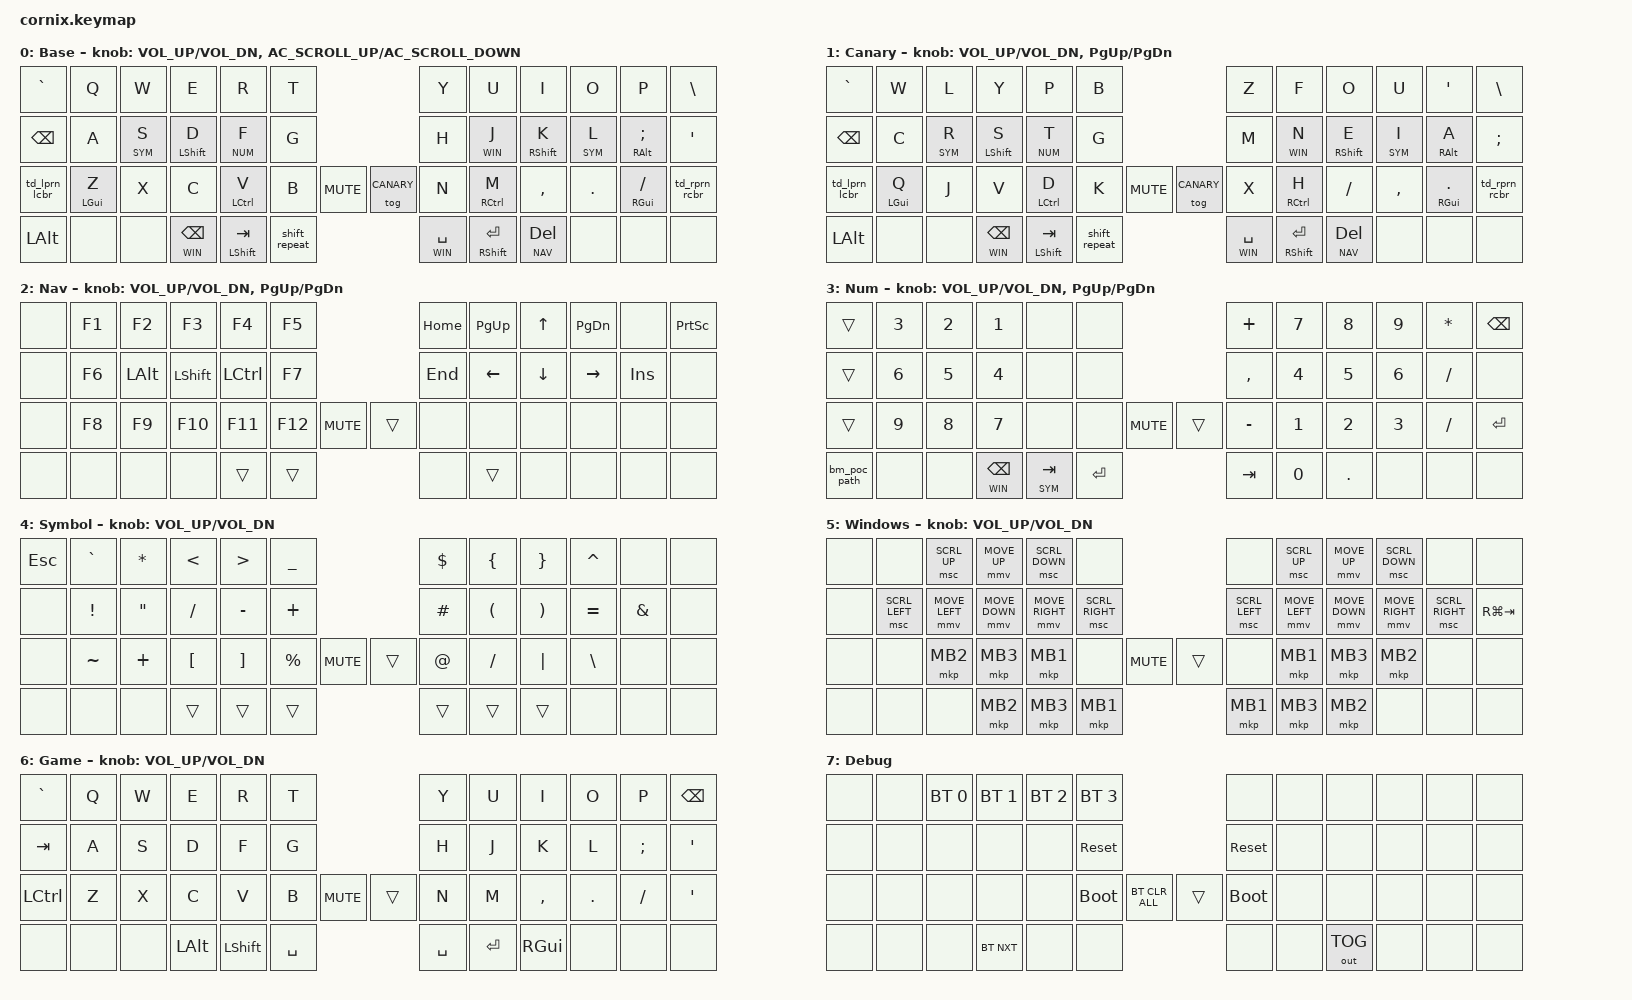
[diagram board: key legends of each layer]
/*
 * Copyright (c) 2020 The ZMK Contributors
 *
 * SPDX-License-Identifier: MIT
 */

#include "zmk-helpers/helper.h"
#include "includes/cornix54.h"

// tap windows for ctl alt and gui

#define HM_TAPPING_TERM 250
#define HM_TAPPING_REPEAT 210

// quick tapping for shift

#define HM_TAPPING_TERM_FAST 180
#define HM_PRIOR_IDLE 40
#define BASE 0
#define CANARY 1
#define NAV 2
#define NUM 3
#define SYM 4
#define WIN 5
#define GAME 6
#define DEBUG 7

// https://github.com/urob/zmk-config/tree/main#timeless-homerow-mods

#define KEYS_L LT0 LT1 LT2 LT3 LT4 LT5 LM0 LM1 LM2 LM3 LM4 LM5 LB0 LB1 LB2 LB3 LB4 LB5  // left hand
#define KEYS_R RT0 RT1 RT2 RT3 RT4 RT5 RM0 RM1 RM2 RM3 RM4 RM5 RB0 RB1 RB2 RB3 RB4 RB5  // right hand
#define THUMBS LH1 LH0 RH0 RH1
#define KEYS_T LH1 LH0 RH0 RH1
#define ZMK_POINTING_DEFAULT_SCRL_VAL 15

#include <behaviors.dtsi>
#include <dt-bindings/zmk/bt.h>
#include <dt-bindings/zmk/keys.h>
#include <dt-bindings/zmk/outputs.h>
#include <dt-bindings/zmk/pointing.h>

/ {

    behaviors {

        // Home Row Mods

        hm_lctrl: homerow_mods_left {
            compatible = "zmk,behavior-hold-tap";
            #binding-cells = <2>;
            bindings = <&kp>, <&kp>;

            flavor = "balanced";
            tapping-term-ms = <HM_TAPPING_TERM>;
            quick-tap-ms = <200>;                // repeat on tap-into-hold
            require-prior-idle-ms = <HM_PRIOR_IDLE>;
            hold-trigger-key-positions = <KEYS_R KEYS_T>;
            hold-trigger-on-release;
            hold-while-undecided;
        };

        hm_l: homerow_mods_gui_left {
            compatible = "zmk,behavior-hold-tap";
            #binding-cells = <2>;
            bindings = <&kp>, <&kp>;

            flavor = "balanced";
            tapping-term-ms = <HM_TAPPING_TERM>;
            quick-tap-ms = <200>;                // repeat on tap-into-hold
            require-prior-idle-ms = <HM_PRIOR_IDLE>;
            hold-trigger-key-positions = <KEYS_R KEYS_T>;
            hold-trigger-on-release;
        };

        hm_rctrl: homerow_mods_right {
            compatible = "zmk,behavior-hold-tap";
            #binding-cells = <2>;
            bindings = <&kp>, <&kp>;

            flavor = "balanced";
            tapping-term-ms = <HM_TAPPING_TERM>;
            quick-tap-ms = <200>;
            require-prior-idle-ms = <HM_PRIOR_IDLE>;
            hold-trigger-key-positions = <KEYS_L KEYS_T>;
            hold-trigger-on-release;
            hold-while-undecided;
        };

        hm_r: homerow_mods_gui_right {
            compatible = "zmk,behavior-hold-tap";
            #binding-cells = <2>;
            bindings = <&kp>, <&kp>;

            flavor = "balanced";
            tapping-term-ms = <HM_TAPPING_TERM>;
            quick-tap-ms = <200>;
            require-prior-idle-ms = <HM_PRIOR_IDLE>;
            hold-trigger-key-positions = <KEYS_L KEYS_T>;
            hold-trigger-on-release;
        };

        // Positional Homerow mods for shift
        // Use faster tapping term and disable some features that may
        // cause false negatives.

        hm_shift_l: hm_shift_l {
            compatible = "zmk,behavior-hold-tap";
            #binding-cells = <2>;
            bindings = <&kp>, <&kp>;

            flavor = "balanced";
            tapping-term-ms = <HM_TAPPING_TERM_FAST>;
            quick-tap-ms = <200>;
            require-prior-idle-ms = <HM_PRIOR_IDLE>;
            hold-trigger-key-positions = <KEYS_R KEYS_T>;
            hold-trigger-on-release;
            hold-while-undecided;
        };

        hm_shift_r: hm_shift_r {
            compatible = "zmk,behavior-hold-tap";
            #binding-cells = <2>;
            bindings = <&kp>, <&kp>;

            flavor = "balanced";
            tapping-term-ms = <HM_TAPPING_TERM_FAST>;
            quick-tap-ms = <200>;
            require-prior-idle-ms = <HM_PRIOR_IDLE>;
            hold-trigger-key-positions = <KEYS_L KEYS_T>;

            // for quick tapping; shift+~

            hold-trigger-on-release;
            hold-while-undecided;
        };

        lt: layer_tap {
            compatible = "zmk,behavior-hold-tap";
            #binding-cells = <2>;
            bindings = <&mo>, <&kp>;

            flavor = "balanced";
            tapping-term-ms = <HM_TAPPING_TERM_FAST>;
            quick-tap-ms = <200>;
            require-prior-idle-ms = <HM_PRIOR_IDLE>;
        };

        lt_nav: layer_tap_nav {
            compatible = "zmk,behavior-hold-tap";
            #binding-cells = <2>;
            bindings = <&mo>, <&kp>;

            flavor = "hold-preferred";
            tapping-term-ms = <HM_TAPPING_TERM_FAST>;
            quick-tap-ms = <200>;
            require-prior-idle-ms = <HM_PRIOR_IDLE>;
        };

        // Tap Dances

        td_lprn_lcbr: tap_dance_left_prn_cbr {
            compatible = "zmk,behavior-tap-dance";
            #binding-cells = <0>;
            tapping-term-ms = <200>;
            bindings = <&kp LPAR>, <&kp LBRC>;
        };

        td_rprn_rcbr: tap_dance_right_prn_cbr {
            compatible = "zmk,behavior-tap-dance";
            #binding-cells = <0>;
            tapping-term-ms = <200>;
            bindings = <&kp RPAR>, <&kp RBRC>;
        };

        td_comm_scln: tap_dance_comm_scln {
            compatible = "zmk,behavior-tap-dance";
            #binding-cells = <0>;
            tapping-term-ms = <200>;
            bindings = <&kp COMMA>, <&kp SEMICOLON>;
        };

        td_slsh_scln: tap_dance_slsh_scln {
            compatible = "zmk,behavior-tap-dance";
            #binding-cells = <0>;
            tapping-term-ms = <200>;
            bindings = <&kp SLASH>, <&kp SEMICOLON>;
        };

        td_scln_sqt: td_scln_sqt {
            compatible = "zmk,behavior-tap-dance";
            #binding-cells = <0>;
            tapping-term-ms = <200>;
            bindings = <&kp SEMICOLON>, <&kp SQT>;

            label = "TD_SCLN_SQT";
        };

        smart_shift: smart_shift {
            compatible = "zmk,behavior-mod-morph";
            #binding-cells = <0>;
            bindings = <&sk LSHFT>, <&caps_word>;
            mods = <(MOD_LSFT)>;
        };

        // Adaptive Keys

        shift_repeat: shift_repeat {
            compatible = "zmk,behavior-adaptive-key";
            #binding-cells = <0>;
            bindings = <&sk LSHFT>;

            repeat {
                trigger-keys = <A B C D E F G H I J K L M N O Q R S T V W X Y Z>;
                bindings = <&key_repeat>;
                max-prior-idle-ms = <400>;
                strict-modifiers;
            };

            arrow {
                trigger-keys = <MINUS EQUAL>;
                bindings = <&kp GT>;
                max-prior-idle-ms = <400>;
            };

            u_i {
                trigger-keys = <U>;
                bindings = <&kp I>;
                max-prior-idle-ms = <400>;
            };

            p_t {
                trigger-keys = <P>;
                bindings = <&kp T>;
                max-prior-idle-ms = <400>;
            };
        };
    };

    // Do something when layers are entered and left

    // layer_listeners {
    //     compatible = "zmk,layer-listeners";

    //     nav_listener {
    //         layers = <NAV>;
    //         bindings = <&kp N &kp B>;
    //     };
    // };

    combos {
        compatible = "zmk,combos";

        combo_caps_lock {
            key-positions = <29 32>;
            bindings = <&kp CAPSLOCK>;
            layers = <BASE CANARY>;
        };

        combo_caps_word {
            key-positions = <42 45>;
            bindings = <&caps_word>;
            layers = <BASE CANARY GAME>;
        };

        combo_esc {
            key-positions = <0 1>;
            bindings = <&kp ESC>;
            layers = <BASE CANARY GAME>;
        };

        combo_copy {
            key-positions = <26 27>;
            bindings = <&kp LC(C)>;
            layers = <BASE CANARY>;
        };

        combo_cut {
            key-positions = <26 28>;
            bindings = <&kp LC(X)>;
            layers = <BASE CANARY>;
        };

        combo_paste {
            key-positions = <27 28>;
            bindings = <&kp LC(V)>;
            layers = <BASE CANARY>;
        };

        combo_game {
            key-positions = <0 11>;
            bindings = <&tog GAME>;
            layers = <BASE CANARY GAME>;
        };

        combo_num {
            key-positions = <33 34 35>;
            bindings = <&tog NUM>;
            layers = <BASE CANARY NUM>;
        };

        combo_debug {
            bindings = <&mo DEBUG>;
            key-positions = <40 39>;
            layers = <BASE CANARY>;
        };

        combo_debug_r {
            bindings = <&mo DEBUG>;
            key-positions = <48 47>;
            layers = <BASE CANARY>;
        };

        combo_bspc {
            bindings = <&kp BSPC>;
            key-positions = <10 11>;
            layers = <BASE CANARY>;
        };

    };

    macros {

        bm_poc_path: bm_poc_path {
            compatible = "zmk,behavior-macro";
            #binding-cells = <0>;
            bindings = <&kp FSLH &kp H &kp O &kp M &kp E &kp N2 &kp FSLH &kp F &kp T &kp P &kp FSLH &kp W &kp E &kp E &kp K &kp L &kp Y &kp FSLH &kp W &kp T &kp I &kp L &kp L &kp E &kp T &kp T &kp FSLH>;
            label = "BM_POC_PATH";
        };
    };

    keymap {
        compatible = "zmk,keymap";

        default_layer {
            display-name = "Base";

            // ------------------------------------------------------------------------------------------------------------
            // |   `   |  1  |  2  |  3   |  4   |  5   |                   |  6   |  7    |  8    |  9   |   0   |       |
            // |  ESC  |  Q  |  W  |  E   |  R   |  T   |                   |  Y   |  U    |  I    |  O   |   P   | BKSPC |
            // |  TAB  |  A  |  S  |  D   |  F   |  G   |                   |  H   |  J    |  K    |  L   |   ;   |   '   |
            // | SHIFT |  Z  |  X  |  C   |  V   |  B   |  MUTE  |  |       |  N   |  M    |  ,    |  .   |   /   | SHIFT |
            //               | GUI | ALT  | CTRL | LOWER|  ENTER |  | SPACE | RAISE| CTRL  | ALT   | GUI  |

            bindings = <
&kp GRAVE      &kp Q         &kp W    &kp E                     &kp R              &kp T                               &kp Y        &kp U              &kp I                      &kp O    &kp P                 &kp BSLH
&kp BACKSPACE  &kp A         &lt SYM S  &hm_shift_l LSHFT D  &lt NUM F            &kp G                               &kp H        &lt WIN J            &hm_shift_r RSHFT K  &lt SYM L  &hm_r RALT SEMI  &kp SQT
&td_lprn_lcbr  &hm_l LGUI Z  &kp X    &kp C                     &hm_lctrl LCTRL V  &kp B           &kp C_MUTE  &tog CANARY  &kp N        &hm_rctrl RCTRL M  &kp COMMA                  &kp DOT  &hm_r RGUI SLASH      &td_rprn_rcbr
&kp LALT       &none         &none    &lt_nav WIN BSPC            &hm_shift_l LSHFT TAB          &shift_repeat                      &lt WIN SPACE  &hm_shift_r RSHFT ENTER        &lt_nav NAV DELETE           &none    &none                 &none
            >;

            sensor-bindings =
                <&inc_dec_kp C_VOL_UP C_VOL_DN>,
                <&inc_dec_kp C_AC_SCROLL_UP C_AC_SCROLL_DOWN>;
        };

        canary_layer {
            display-name = "Canary";

            // ------------------------------------------------------------------------------------------------------------
            // |   `   |  1  |  2  |  3   |  4   |  5   |                   |  6   |  7    |  8    |  9   |   0   |       |
            // |  ESC  |  Q  |  W  |  E   |  R   |  T   |                   |  Y   |  U    |  I    |  O   |   P   | BKSPC |
            // |  TAB  |  A  |  S  |  D   |  F   |  G   |                   |  H   |  J    |  K    |  L   |   ;   |   '   |
            // | SHIFT |  Z  |  X  |  C   |  V   |  B   |  MUTE  |  |       |  N   |  M    |  ,    |  .   |   /   | SHIFT |
            //               | GUI | ALT  | CTRL | LOWER|  ENTER |  | SPACE | RAISE| CTRL  | ALT   | GUI  |

            bindings = <
&kp GRAVE      &kp W         &kp L    &kp Y                     &kp P              &kp B                   &kp Z   &kp F              &kp O                      &kp U      &kp SQT            &kp BACKSLASH
&kp BACKSPACE  &kp C         &lt SYM R  &hm_shift_l LSHFT S  &lt NUM T            &kp G                   &kp M   &lt WIN N            &hm_shift_r RSHFT E  &lt SYM I    &hm_r RALT A  &kp SEMICOLON
&td_lprn_lcbr  &hm_l LGUI Q  &kp J    &kp V                     &hm_lctrl LCTRL D  &kp K   &kp C_MUTE  &tog CANARY  &kp X   &hm_rctrl RCTRL H  &kp SLASH                  &kp COMMA  &hm_r RGUI DOT     &td_rprn_rcbr
&kp LALT       &none         &none    &lt_nav WIN BSPC            &hm_shift_l LSHFT TAB          &shift_repeat                      &lt WIN SPACE  &hm_shift_r RSHFT ENTER        &lt_nav NAV DELETE           &none    &none                 &none
            >;

            sensor-bindings = <&inc_dec_kp C_VOL_UP C_VOL_DN &inc_dec_kp PG_UP PG_DN>;
        };

        Nav_layer {
            display-name = "Nav";

            // TODO: Some binds are waiting for shifted keycode support.
            // -------------------------------
            // |       |  F1 |  F2 |  F3  |  F4  |  F5  |                   |  F6  |  F7   |  F8   |  F9  |  F10  |  F11  |
            // |   `   |  1  |  2  |  3   |  4   |  5   |                   |  6   |  7    |  8    |  9   |   0   |  F12  |
            // |       |  !  |  @  |  #   |  $   |  %   |                   |  ^   |  &    |  *    |  (   |   )   |   |   |
            // |       |  =  |  -  |  +   |  {   |  }   |        |  |       |  [   |  ]    |  ;    |  :   |   \   |       |
            //               |     |      |      |      |        |  |       |      |       |       |      |

            bindings = <
&none  &kp F1  &kp F2        &kp F3      &kp F4     &kp F5                   &kp HOME  &kp PAGE_UP     &kp UP_ARROW    &kp PAGE_DOWN    &none       &kp PRINTSCREEN
&none  &kp F6  &kp LALT  &kp LSHIFT  &kp LCTRL  &kp F7                   &kp END   &kp LEFT_ARROW  &kp DOWN_ARROW  &kp RIGHT_ARROW  &kp INSERT  &none
&none  &kp F8  &kp F9        &kp F10     &kp F11    &kp F12  &kp C_MUTE  &trans  &none     &none           &none           &none            &none       &none
&none  &none   &none         &none       &trans     &trans                   &none     &trans          &none           &none            &none       &none
            >;

            sensor-bindings = <&inc_dec_kp C_VOL_UP C_VOL_DN &inc_dec_kp PG_UP PG_DN>;
        };

        Num_layer {
            display-name = "Num";

            // ------------------------------------------------------------------------------------------------------------
            // | BTCLR | BT1  | BT2  |  BT3  |  BT4  |  BT5 |                |      |      |       |      |       |       |
            // |       | INS  | PSCR | GUI   |       |      |                | PGUP |      |   ^   |      |       |       |
            // |       | ALT  | CTRL | SHIFT |       | CAPS |                | PGDN |   <- |   v   |  ->  |  DEL  | BKSPC |
            // |       | UNDO | CUT  | COPY  | PASTE |      |      |  |      |      |      |       |      |       |       |
            //                |      |       |       |      |      |  |      |      |      |       |      |

            bindings = <
&trans  &kp N3  &kp N2  &kp N1  &none   &none                      &kp PLUS   &kp N7  &kp N8   &kp N9  &kp ASTRK  &kp BSPC
&trans  &kp N6  &kp N5  &kp N4  &none   &none                      &kp COMMA  &kp N4  &kp N5   &kp N6  &kp SLASH  &none
&trans  &kp N9  &kp N8  &kp N7  &none   &none      &kp C_MUTE  &trans  &kp MINUS  &kp N1  &kp N2   &kp N3  &kp SLASH  &kp ENTER
&bm_poc_path   &none   &none   &lt_nav WIN BSPC   &lt SYM TAB  &kp ENTER                  &kp TAB    &kp N0  &kp DOT  &none   &none      &none
            >;

            sensor-bindings = <&inc_dec_kp C_VOL_UP C_VOL_DN &inc_dec_kp PG_UP PG_DN>;
        };

        Symbol_layer {
            display-name = "Symbol";

            // ----------------------------------------------------------------------------------------------------------------------------
            // | BTCLR  |  BT1    |  BT2    |   BT3   |   BT4   |   BT5   |                  |      |      |       |      |       |       |
            // | moDEBUG| RGB_HUD | RGB_HUI | RGB_SAD | RGB_SAI | RGB_EFF |                  |      |      |       |      |       |       |
            // | EXTPWR | RGB_BRD | RGB_BRI |         |         |         |                  |      |      |       |      |       |       |
            // |        |         |         |         |         |         | RGB_TOG | |      |      |      |       |      |       |       |
            //                    |         |         |         |         |         | |      |      |      |       |      |

            bindings = <
&kp ESC  &kp GRAVE  &kp ASTRK  &kp LT    &kp GT     &kp UNDER                    &kp DOLLAR  &kp LBRC              &kp RBRC               &kp CARET  &none     &none
&none    &kp EXCL   &kp DQT    &kp FSLH  &kp MINUS  &kp PLUS                     &kp HASH    &kp LEFT_PARENTHESIS  &kp RIGHT_PARENTHESIS  &kp EQUAL  &kp AMPS  &none
&none    &kp TILDE  &kp PLUS   &kp LBKT  &kp RBKT   &kp PERCENT  &kp C_MUTE  &trans  &kp AT      &kp FSLH              &kp PIPE               &kp BSLH   &none     &none
&none    &none      &none      &trans     &trans      &trans                        &trans       &trans                 &trans                  &none      &none     &none
            >;

            sensor-bindings = <&inc_dec_kp C_VOL_UP C_VOL_DN>;
        };

        Mouse_layer {
            display-name = "Windows";
            bindings = <
&none  &none           &msc SCRL_UP    &mmv MOVE_UP    &msc SCRL_DOWN   &none                            &none           &msc SCRL_UP    &mmv MOVE_UP    &msc SCRL_DOWN   &none            &none
&none  &msc SCRL_LEFT  &mmv MOVE_LEFT  &mmv MOVE_DOWN  &mmv MOVE_RIGHT  &msc SCRL_RIGHT                  &msc SCRL_LEFT  &mmv MOVE_LEFT  &mmv MOVE_DOWN  &mmv MOVE_RIGHT  &msc SCRL_RIGHT  &kp RG(TAB)
&none  &none           &mkp MB2        &mkp MB3        &mkp MB1         &none            &kp C_MUTE  &trans  &none           &mkp MB1        &mkp MB3        &mkp MB2         &none            &none
&none  &none           &none           &mkp MB2        &mkp MB3         &mkp MB1                         &mkp MB1        &mkp MB3        &mkp MB2        &none            &none            &none
            >;

            sensor-bindings = <&inc_dec_kp C_VOL_UP C_VOL_DN>;
            label = "Mouse";
        };

        Game_layer {
            display-name = "Game";
            bindings = <
&kp GRAVE  &kp Q  &kp W  &kp E     &kp R      &kp T                      &kp Y      &kp U      &kp I      &kp O    &kp P     &kp BSPC
&kp TAB    &kp A  &kp S  &kp D     &kp F      &kp G                      &kp H      &kp J      &kp K      &kp L    &kp SEMI  &kp APOS
&kp LCTRL  &kp Z  &kp X  &kp C     &kp V      &kp B      &kp C_MUTE  &trans  &kp N      &kp M      &kp COMMA  &kp DOT  &kp FSLH  &kp APOS
&none      &none  &none  &kp LALT  &kp LSHFT  &kp SPACE                  &kp SPACE  &kp ENTER  &kp RGUI   &none    &none     &none
            >;

            sensor-bindings = <&inc_dec_kp C_VOL_UP C_VOL_DN>;
        };

        Debug_layer {
            display-name = "Debug";

            // ----------------------------------------------------------------------------------------------------------------------------
            // | BTCLR  |  BT1    |  BT2    |   BT3   |   BT4   |   BT5   |                  |      |      |       |      |       |       |
            // | EXTPWR | BTCLR | RGB_HUI | RGB_SAD | RGB_SAI | RGB_EFF |                  |      |      |       |      |       |       |
            // |        | RGB_BRD | RGB_BRI |         |         |         |                  |      |      |       |      |       |       |
            // |        |         |         |         |         |         | RGB_TOG | |      |      |      |       |      |       |       |
            //                    |         |         |         |         |         | |      |      |      |       |      |

            bindings = <
&none  &none  &bt BT_SEL 0  &bt BT_SEL 1  &bt BT_SEL 2  &bt BT_SEL 3                          &none        &none  &none         &none  &none  &none
&none  &none  &none         &none         &none         &sys_reset                            &sys_reset   &none  &none         &none  &none  &none
&none  &none  &none         &none         &none         &bootloader   &bt BT_CLR_ALL  &trans  &bootloader  &none  &none         &none  &none  &none
&none  &none  &none         &bt BT_NXT    &none         &none                                 &none        &none  &out OUT_TOG  &none  &none  &none
            >;
        };
    };
};
